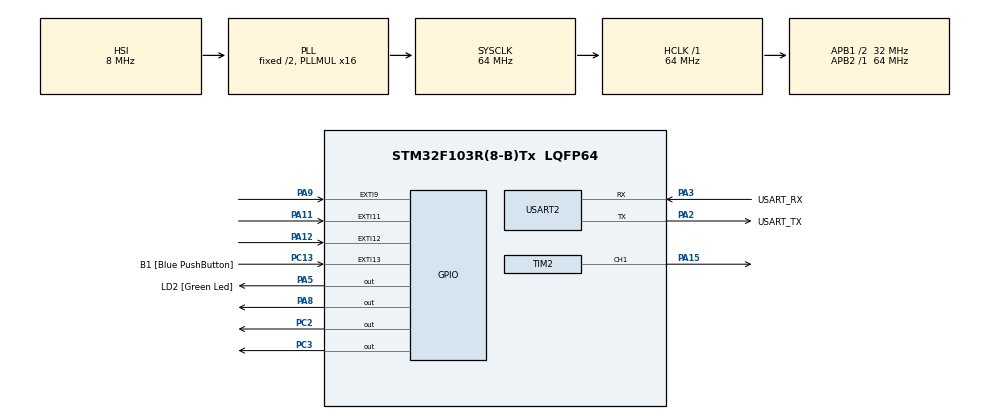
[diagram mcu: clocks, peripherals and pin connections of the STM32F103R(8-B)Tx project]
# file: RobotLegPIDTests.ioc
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Mcu.Family=STM32F1
Mcu.Name=STM32F103R(8-B)Tx
Mcu.Package=LQFP64
NVIC.EXTI15_10_IRQn=true\:0\:0\:false\:false\:true\:true\:true\:true
NVIC.EXTI9_5_IRQn=true\:0\:0\:false\:false\:true\:true\:true\:true
NVIC.PriorityGroup=NVIC_PRIORITYGROUP_4
PA11.Signal=GPXTI11
PA12.Signal=GPXTI12
PA13.GPIO_Label=TMS
PA13.Mode=Serial_Wire
PA13.Signal=SYS_JTMS-SWDIO
PA14.GPIO_Label=TCK
PA14.Mode=Serial_Wire
PA14.Signal=SYS_JTCK-SWCLK
PA15.Signal=S_TIM2_CH1_ETR
PA2.GPIO_Label=USART_TX
PA2.GPIO_Mode=GPIO_MODE_AF_PP
PA2.GPIO_PuPd=GPIO_NOPULL
PA2.GPIO_Speed=GPIO_SPEED_FREQ_LOW
PA2.Mode=Asynchronous
PA2.Signal=USART2_TX
PA3.GPIO_Label=USART_RX
PA3.GPIO_Mode=GPIO_MODE_AF_PP
PA3.GPIO_PuPd=GPIO_NOPULL
PA3.GPIO_Speed=GPIO_SPEED_FREQ_LOW
PA3.Mode=Asynchronous
PA3.Signal=USART2_RX
PA5.GPIO_Label=LD2 [Green Led]
PA5.GPIO_ModeDefaultOutputPP=GPIO_MODE_OUTPUT_PP
PA5.GPIO_PuPd=GPIO_NOPULL
PA5.GPIO_Speed=GPIO_SPEED_FREQ_LOW
PA5.Signal=GPIO_Output
PA8.Signal=GPIO_Output
PA9.GPIO_ModeDefaultEXTI=GPIO_MODE_IT_RISING
PA9.Signal=GPXTI9
PB3.GPIO_Label=SWO
PB3.Signal=SYS_JTDO-TRACESWO
PC13-TAMPER-RTC.GPIO_Label=B1 [Blue PushButton]
PC13-TAMPER-RTC.GPIO_PuPd=GPIO_NOPULL
PC13-TAMPER-RTC.Signal=GPXTI13
PC14-OSC32_IN.Mode=LSE-External-Oscillator
PC14-OSC32_IN.Signal=RCC_OSC32_IN
PC15-OSC32_OUT.Mode=LSE-External-Oscillator
PC15-OSC32_OUT.Signal=RCC_OSC32_OUT
PC2.Signal=GPIO_Output
PC3.Signal=GPIO_Output
PD0-OSC_IN.Mode=HSE-External-Oscillator
PD0-OSC_IN.Signal=RCC_OSC_IN
PD1-OSC_OUT.Mode=HSE-External-Oscillator
PD1-OSC_OUT.Signal=RCC_OSC_OUT
ProjectManager.HeapSize=0x200
ProjectManager.StackSize=0x400
ProjectManager.TargetToolchain=STM32CubeIDE
RCC.AHBFreq_Value=64000000
RCC.APB1CLKDivider=RCC_HCLK_DIV2
RCC.APB1Freq_Value=32000000
RCC.APB1TimFreq_Value=64000000
RCC.APB2Freq_Value=64000000
RCC.APB2TimFreq_Value=64000000
RCC.HCLKFreq_Value=64000000
RCC.PLLMUL=RCC_PLL_MUL16
RCC.RTCClockSelection=RCC_RTCCLKSOURCE_LSE
RCC.SYSCLKFreq_VALUE=64000000
RCC.SYSCLKSource=RCC_SYSCLKSOURCE_PLLCLK
RCC.USBFreq_Value=64000000
SH.S_TIM2_CH1_ETR.0=TIM2_CH1,PWM Generation1 CH1
TIM2.AutoReloadPreload=TIM_AUTORELOAD_PRELOAD_ENABLE
TIM2.Channel-PWM\ Generation1\ CH1=TIM_CHANNEL_1
USART2.VirtualMode=VM_ASYNC
VP_TIM2_VS_ClockSourceINT.Mode=Internal
board=NUCLEO-F103RB

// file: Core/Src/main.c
/* USER CODE BEGIN Header */
/**
  ******************************************************************************
  * @file           : main.c
  * @brief          : Main program body
  ******************************************************************************
  * @attention
  *
  * Copyright (c) 2023 STMicroelectronics.
  * All rights reserved.
  *
  * This software is licensed under terms that can be found in the LICENSE file
  * in the root directory of this software component.
  * If no LICENSE file comes with this software, it is provided AS-IS.
  *
  ******************************************************************************
  */
/* USER CODE END Header */
#include "main.h"

/* USER CODE BEGIN Includes */
#define DUTY_CYCLE 2000 //unused, can prolly delete
/* USER CODE END Includes */

TIM_HandleTypeDef htim2;

UART_HandleTypeDef huart2;

void SystemClock_Config(void);
static void MX_GPIO_Init(void);
static void MX_USART2_UART_Init(void);
static void MX_TIM2_Init(void);

/* USER CODE BEGIN 0 */

//feedback variables, used with interrupt handler to get incremental feedback from motor(s)
int duration;
int Direction;
int YellowsigLast;

int errorterm; //The difference between the current position and the desired position.

//PID Control terms, adjust as needed
int PropTerm = 10; //proportional term (30?)
float IntTerm = 0; //Integral term
float DerivTerm = 0.1; //Derivative term

int FeedbackControlSignal; //final summation of effects of P, I and D controllers

//Proportional control support variables
int Pterm;

//Integral control support variables
int IntArray[30]; //= {0, 0, 0, 0, 0, 0, 0, 0, 0, 0};
int IntegralTerm;
int ITerm;
int sum;

//Derivative control support variables
int DerArray[30]; // = {1, 1, 1, 1, 1, 1, 1, 1, 1, 1};
int DerivativeTerm;
int DTerm;
int numerator;
int denominator;
int slope;

int DesiredPos; //desired final position of the actuator

int GoalTerm = 1; //sometimes overshoots, leading to undefined behavior. This prevents movement once goal is reached.
int i;
int j;
int k;
int f;
int z;

/* USER CODE END 0 */

int main(void)
{

  /* MCU Configuration--------------------------------------------------------*/

  /* Reset of all peripherals, Initializes the Flash interface and the Systick. */
  HAL_Init();

  /* USER CODE BEGIN Init */
  Direction = 1; //Problems with global variables?
  /* USER CODE END Init */

  /* Configure the system clock */
  SystemClock_Config();

  /* Initialize all configured peripherals */
  MX_GPIO_Init();
  MX_USART2_UART_Init();
  MX_TIM2_Init();
  /* USER CODE BEGIN 2 */
  HAL_TIM_Base_MspInit(&htim2);
  HAL_TIM_Base_Start(&htim2); //Starts the TIM Base generation

  HAL_TIM_PWM_Start(&htim2, TIM_CHANNEL_1);

  __HAL_TIM_SET_COMPARE(&htim2, TIM_CHANNEL_1, DUTY_CYCLE);

  HAL_TIM_MspPostInit(&htim2);
  /* USER CODE END 2 */

  /* Infinite loop */
  while (1)
  {

    /* USER CODE BEGIN 3 */

	  //PA15 motor pwm, PC2 And PC3 motor binary direction.
	  //PA9 and PA10 are incremental motor feedback

	  //MotorDirectionDetermination();

	  DesiredPos = 8669;  //give offset (360 deg ~ 8669)

	  errorterm = duration - DesiredPos;

	  //control (P control)
	  Pterm = PropTerm*errorterm;

	  //Integral control (I control)
	  ITerm = IntegralControl(errorterm);

	  //Derivative control (D control)
	  DTerm = DerivativeControl(errorterm);

	  //Summing effects of PID controller
	  FeedbackControlSignal = Pterm+ITerm+DTerm;

	  if (FeedbackControlSignal > 60000 || FeedbackControlSignal < -60000){
		  FeedbackControlSignal = 60000;
	  }

	  if(errorterm > 120) { //24 counts per degree
		 HAL_GPIO_WritePin(GPIOC, GPIO_PIN_2, 1); //Forward or CW (Negative feedback)
		 HAL_GPIO_WritePin(GPIOC, GPIO_PIN_3, 0);
		 __HAL_TIM_SET_COMPARE(&htim2, TIM_CHANNEL_1, abs(FeedbackControlSignal));
		 HAL_Delay(10);
	  }
	  if(errorterm < -120) {
		 HAL_GPIO_WritePin(GPIOC, GPIO_PIN_2, 0); //Backwards or CCW (Positive feedback)
		 HAL_GPIO_WritePin(GPIOC, GPIO_PIN_3, 1);
		 __HAL_TIM_SET_COMPARE(&htim2, TIM_CHANNEL_1, abs(FeedbackControlSignal));
		 HAL_Delay(10);
	  }else {
	 		 __HAL_TIM_SET_COMPARE(&htim2, TIM_CHANNEL_1, 0);
	 		 HAL_GPIO_WritePin(GPIOC, GPIO_PIN_2, 0);
		     HAL_GPIO_WritePin(GPIOC, GPIO_PIN_3, 0);
	 		 //GoalTerm = 0;
	 		 HAL_Delay(500);
	 	  }

	        /*
	         HAL_GPIO_WritePin(GPIOC, GPIO_PIN_2, 1); //Forward or CW (Negative feedback)
	  		 HAL_GPIO_WritePin(GPIOC, GPIO_PIN_3, 0);
	  		 __HAL_TIM_SET_COMPARE(&htim2, TIM_CHANNEL_1, 60000);
	  		 HAL_Delay(3000);

	  		  HAL_GPIO_WritePin(GPIOC, GPIO_PIN_2, 0); //Backwards or CCW (Positive feedback)
	  		  HAL_GPIO_WritePin(GPIOC, GPIO_PIN_3, 1);
	  		  __HAL_TIM_SET_COMPARE(&htim2, TIM_CHANNEL_1, 60000);
	  		  HAL_Delay(1000);

	  		  */

	  //PWM LED CODE****************************************************
	  /*
	  int i;

	  for (i = 0; i < 65535; i=i+500) {

	  	__HAL_TIM_SET_COMPARE(&htim2, TIM_CHANNEL_1, i);

	  	HAL_Delay(10);

	  }*/
  }
  /* USER CODE END 3 */
}

void SystemClock_Config(void)
{
  RCC_OscInitTypeDef RCC_OscInitStruct = {0};
  RCC_ClkInitTypeDef RCC_ClkInitStruct = {0};

  /** Initializes the RCC Oscillators according to the specified parameters
  * in the RCC_OscInitTypeDef structure.
  */
  RCC_OscInitStruct.OscillatorType = RCC_OSCILLATORTYPE_HSI;
  RCC_OscInitStruct.HSIState = RCC_HSI_ON;
  RCC_OscInitStruct.HSICalibrationValue = RCC_HSICALIBRATION_DEFAULT;
  RCC_OscInitStruct.PLL.PLLState = RCC_PLL_ON;
  RCC_OscInitStruct.PLL.PLLSource = RCC_PLLSOURCE_HSI_DIV2;
  RCC_OscInitStruct.PLL.PLLMUL = RCC_PLL_MUL16;
  if (HAL_RCC_OscConfig(&RCC_OscInitStruct) != HAL_OK)
  {
    Error_Handler();
  }

  /** Initializes the CPU, AHB and APB buses clocks
  */
  RCC_ClkInitStruct.ClockType = RCC_CLOCKTYPE_HCLK|RCC_CLOCKTYPE_SYSCLK
                              |RCC_CLOCKTYPE_PCLK1|RCC_CLOCKTYPE_PCLK2;
  RCC_ClkInitStruct.SYSCLKSource = RCC_SYSCLKSOURCE_PLLCLK;
  RCC_ClkInitStruct.AHBCLKDivider = RCC_SYSCLK_DIV1;
  RCC_ClkInitStruct.APB1CLKDivider = RCC_HCLK_DIV2;
  RCC_ClkInitStruct.APB2CLKDivider = RCC_HCLK_DIV1;

  if (HAL_RCC_ClockConfig(&RCC_ClkInitStruct, FLASH_LATENCY_2) != HAL_OK)
  {
    Error_Handler();
  }
}

static void MX_TIM2_Init(void)
{

  TIM_ClockConfigTypeDef sClockSourceConfig = {0};
  TIM_MasterConfigTypeDef sMasterConfig = {0};
  TIM_OC_InitTypeDef sConfigOC = {0};

  htim2.Instance = TIM2;
  htim2.Init.Prescaler = 0;
  htim2.Init.CounterMode = TIM_COUNTERMODE_UP;
  htim2.Init.Period = 65535;
  htim2.Init.ClockDivision = TIM_CLOCKDIVISION_DIV1;
  htim2.Init.AutoReloadPreload = TIM_AUTORELOAD_PRELOAD_ENABLE;
  if (HAL_TIM_Base_Init(&htim2) != HAL_OK)
  {
    Error_Handler();
  }
  sClockSourceConfig.ClockSource = TIM_CLOCKSOURCE_INTERNAL;
  if (HAL_TIM_ConfigClockSource(&htim2, &sClockSourceConfig) != HAL_OK)
  {
    Error_Handler();
  }
  if (HAL_TIM_PWM_Init(&htim2) != HAL_OK)
  {
    Error_Handler();
  }
  sMasterConfig.MasterOutputTrigger = TIM_TRGO_RESET;
  sMasterConfig.MasterSlaveMode = TIM_MASTERSLAVEMODE_DISABLE;
  if (HAL_TIMEx_MasterConfigSynchronization(&htim2, &sMasterConfig) != HAL_OK)
  {
    Error_Handler();
  }
  sConfigOC.OCMode = TIM_OCMODE_PWM1;
  sConfigOC.Pulse = 0;
  sConfigOC.OCPolarity = TIM_OCPOLARITY_HIGH;
  sConfigOC.OCFastMode = TIM_OCFAST_DISABLE;
  if (HAL_TIM_PWM_ConfigChannel(&htim2, &sConfigOC, TIM_CHANNEL_1) != HAL_OK)
  {
    Error_Handler();
  }
  HAL_TIM_MspPostInit(&htim2);

}

static void MX_USART2_UART_Init(void)
{

  huart2.Instance = USART2;
  huart2.Init.BaudRate = 115200;
  huart2.Init.WordLength = UART_WORDLENGTH_8B;
  huart2.Init.StopBits = UART_STOPBITS_1;
  huart2.Init.Parity = UART_PARITY_NONE;
  huart2.Init.Mode = UART_MODE_TX_RX;
  huart2.Init.HwFlowCtl = UART_HWCONTROL_NONE;
  huart2.Init.OverSampling = UART_OVERSAMPLING_16;
  if (HAL_UART_Init(&huart2) != HAL_OK)
  {
    Error_Handler();
  }

}

static void MX_GPIO_Init(void)
{
  GPIO_InitTypeDef GPIO_InitStruct = {0};

  /* GPIO Ports Clock Enable */
  __HAL_RCC_GPIOC_CLK_ENABLE();
  __HAL_RCC_GPIOD_CLK_ENABLE();
  __HAL_RCC_GPIOA_CLK_ENABLE();
  __HAL_RCC_GPIOB_CLK_ENABLE();

  /*Configure GPIO pin Output Level */
  HAL_GPIO_WritePin(GPIOC, GPIO_PIN_2|GPIO_PIN_3, GPIO_PIN_RESET);

  /*Configure GPIO pin Output Level */
  HAL_GPIO_WritePin(GPIOA, LD2_Pin|GPIO_PIN_8, GPIO_PIN_RESET);

  /*Configure GPIO pin : B1_Pin */
  GPIO_InitStruct.Pin = B1_Pin;
  GPIO_InitStruct.Mode = GPIO_MODE_IT_RISING;
  GPIO_InitStruct.Pull = GPIO_NOPULL;
  HAL_GPIO_Init(B1_GPIO_Port, &GPIO_InitStruct);

  /*Configure GPIO pins : PC2 PC3 */
  GPIO_InitStruct.Pin = GPIO_PIN_2|GPIO_PIN_3;
  GPIO_InitStruct.Mode = GPIO_MODE_OUTPUT_PP;
  GPIO_InitStruct.Pull = GPIO_NOPULL;
  GPIO_InitStruct.Speed = GPIO_SPEED_FREQ_LOW;
  HAL_GPIO_Init(GPIOC, &GPIO_InitStruct);

  /*Configure GPIO pins : LD2_Pin PA8 */
  GPIO_InitStruct.Pin = LD2_Pin|GPIO_PIN_8;
  GPIO_InitStruct.Mode = GPIO_MODE_OUTPUT_PP;
  GPIO_InitStruct.Pull = GPIO_NOPULL;
  GPIO_InitStruct.Speed = GPIO_SPEED_FREQ_LOW;
  HAL_GPIO_Init(GPIOA, &GPIO_InitStruct);

  /*Configure GPIO pins : PA9 PA11 PA12 */
  GPIO_InitStruct.Pin = GPIO_PIN_9|GPIO_PIN_11|GPIO_PIN_12;
  GPIO_InitStruct.Mode = GPIO_MODE_IT_RISING;
  GPIO_InitStruct.Pull = GPIO_NOPULL;
  HAL_GPIO_Init(GPIOA, &GPIO_InitStruct);

  /* EXTI interrupt init*/
  HAL_NVIC_SetPriority(EXTI9_5_IRQn, 0, 0);
  HAL_NVIC_EnableIRQ(EXTI9_5_IRQn);

  HAL_NVIC_SetPriority(EXTI15_10_IRQn, 0, 0);
  HAL_NVIC_EnableIRQ(EXTI15_10_IRQn);

}

/* USER CODE BEGIN 4 */
//Motorfeedback should read the yellow and white wires, and determine the motor speed,
//incremental position and direction from the 2 square waves.
/*
void motorfeedback(){

	int Yellowsig = HAL_GPIO_ReadPin(GPIOA, GPIO_PIN_12);//digitalRead(encoder0pinA);
	 if((YellowsigLast == 0) && Yellowsig == 1)
	 {
	   int Whitesig = HAL_GPIO_ReadPin(GPIOA, GPIO_PIN_12); //digitalRead(encoder0pinB);
	   if(Whitesig == 0 && Direction)
	   {
	     Direction = 0; //Reverse/false
	   }
	   else if(Whitesig == 1 && Direction == 0)
	   {
	     Direction = 1;  //Forward/true
	   }
	 }
	 YellowsigLast = Yellowsig;

	 if(Direction == 0)  duration++;
	 else  duration--;
	 printf("%d", duration); //see feedback via console
}
*/

int IntegralControl(int errorterm) {

	for (j = 29; j > 0; j--) { //moving down the array terms, with the oldest being 10 and youngest 0
		IntArray[j]=IntArray[j-1];
	}
	IntArray[0] = errorterm;

	sum = 0;
	for(k = 0; k < 29; k++) { //summing the entire array
		sum = sum + IntArray[k]; // same as sum += arr[i];
	}

	IntegralTerm = IntTerm*sum;

	return IntegralTerm;
}

int DerivativeControl(int errorterm) {

	for (f = 29; f > 0; f--) { //moving down the array terms, with the oldest being 29 and youngest 0
		DerArray[f]=DerArray[f-1];
	}
	DerArray[0] = errorterm;

	//rough approximation of slope by dividing average of first 15 errorterms (numerator)
	//by the average of the last 15 errorterms (denominator).
	numerator = 0;
	denominator = 0;
	for(z = 0; z < 29; z++) {
		if(z < 15) {
			numerator = numerator + DerArray[z];
		}
		numerator = numerator/5;

		if(z >= 15) {
			denominator = denominator + DerArray[z];
		}
		denominator = denominator/5;

		if (denominator == 0) {
			denominator = 1; //preventing possibility of divide by zero error
		}

		slope = numerator/denominator;

	}
	DerivativeTerm = DerivTerm*slope;

	return DerivativeTerm;
}

// EXTI Line9 External Interrupt ISR Handler CallBackFun
void HAL_GPIO_EXTI_Callback(uint16_t GPIO_Pin)
{

	//if(GPIO_Pin == GPIO_PIN_11 || GPIO_Pin == GPIO_PIN_12)
    //{

    //HAL_GPIO_TogglePin(GPIOA, GPIO_PIN_8); // Toggle The Output (LED) Pin

	/*
		YellowsigLast = Yellowsig;
		Yellowsig = HAL_GPIO_ReadPin(GPIOA, GPIO_PIN_12);//digitalRead(encoder0pinA);
    	int Whitesig = HAL_GPIO_ReadPin(GPIOA, GPIO_PIN_11); //Moving up measurement in an attempt to stop intermittent incorrect direction.

    	if(YellowsigLast == 0 && Yellowsig == 1)
    	{
    		 if(Whitesig == 0 && Direction == 1) {
    		    Direction = 0; //Reverse/false
    		 }
    		 else if(Whitesig == 1 && Direction == 0) {
    		    Direction = 1;  //Forward/true
    		 }
    	}
    	//YellowsigLast = Yellowsig;
		*/
    	if(Direction == 0) {
    		duration++;
    	}
    	else {
    		duration--; //original was just: else duration--;
    	}

    	//printf("%d", duration); //see feedback via console
    	// __HAL_TIM_SET_COMPARE(&htim2, TIM_CHANNEL_1, duration); //seeing if changes take effect

    //}

}
/*
void MotorDirectionDetermination() {

	int Yellowsig = HAL_GPIO_ReadPin(GPIOA, GPIO_PIN_12);//digitalRead(encoder0pinA);
	int Whitesig = HAL_GPIO_ReadPin(GPIOA, GPIO_PIN_11); //Moving up measurement in an attempt to stop intermittent incorrect direction.

	if(YellowsigLast == 0 && Yellowsig == 1)
	{
	    if(Whitesig == 0 && Direction == 1) {
	    	Direction = 0; //Reverse/false
	    }
	    else if(Whitesig == 1 && Direction == 0) {
	    	Direction = 1;  //Forward/true
	    }
	}

	YellowsigLast = Yellowsig;
}*/
/* USER CODE END 4 */

void Error_Handler(void)
{
  __disable_irq();
  while (1)
  {
  }
}
